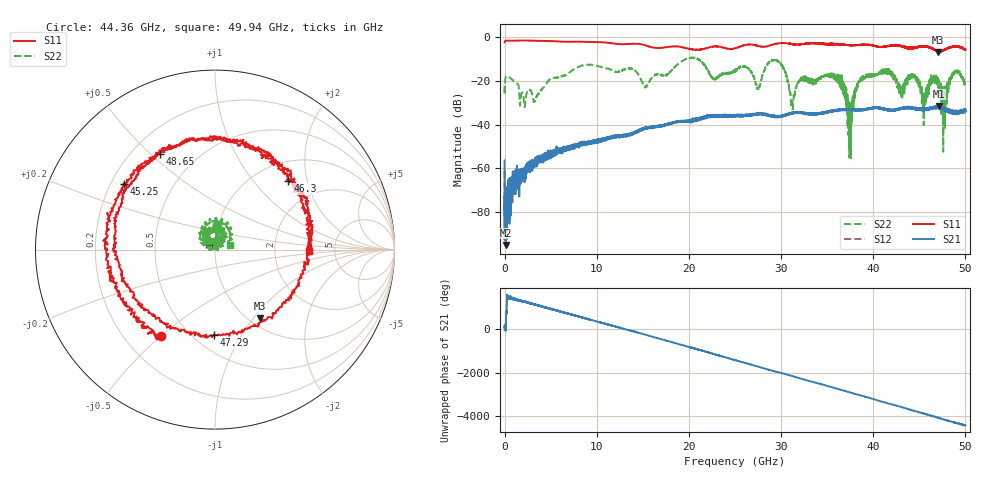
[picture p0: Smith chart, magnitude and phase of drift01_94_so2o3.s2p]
!Created with skrf (http://scikit-rf.org).
# Hz S RI R 50.0
!freq ReS11 ImS11 ReS21 ImS21 ReS12 ImS12 ReS22 ImS22
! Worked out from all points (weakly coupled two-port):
!   10001 points, 300 kHz to 50 GHz, reference 50 ohm
!   highest |S21| = -31.41 dB at 47.18 GHz (marker M1); lowest = -95.3 dB at 155.3 MHz (marker M2)
!   lowest |S11| = -6.8 dB at 47.07 GHz (marker M3), VSWR 2.70, Z = 55.9 - j54.3 ohm
!   |S11| at or under -10 dB: nowhere
!   |S22| runs from -55.4 to -9.2 dB; largest |S21 - S12| = 0.0044
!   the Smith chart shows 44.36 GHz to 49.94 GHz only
!   S11 on the Smith chart (normalised r, x): 44.36 GHz: 0.35, -0.50; 45.25 GHz: 0.25, +0.30; 46.3 GHz: 1.38, +1.53; 47.29 GHz: 0.63, -0.77; 48.65 GHz: 0.31, +0.54; 49.94 GHz: 3.22, -0.07
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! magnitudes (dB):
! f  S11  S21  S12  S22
! 300 kHz  -2.1  -56.4  -61.3  -22.1
! 155.3 MHz  -1.5  -95.3  -77.1  -17.8
! 3.29 GHz  -1.5  -56.4  -57.0  -28.8
! 8.335 GHz  -1.9  -48.4  -49.4  -12.9
! 16.67 GHz  -4.8  -40.7  -40.9  -16.7
! 25 GHz  -5.0  -35.8  -35.8  -15.5
! 29.59 GHz  -2.8  -36.5  -36.3  -10.7
! 31.24 GHz  -3.0  -34.5  -34.5  -31.6
! 33.34 GHz  -2.6  -35.3  -35.1  -20.1
! 36.2 GHz  -3.0  -33.4  -33.5  -20.8
! 37.47 GHz  -3.6  -33.1  -33.2  -30.2
! 38.66 GHz  -3.3  -33.2  -33.0  -20.3
! 41.67 GHz  -3.9  -33.0  -33.4  -16.0
! 44.36 GHz  -4.9  -32.3  -32.4  -17.2
! 45.25 GHz  -4.1  -33.0  -33.1  -22.7
! 46.3 GHz  -5.1  -32.4  -32.5  -17.9
! 47.07 GHz  -6.8  -32.1  -32.0  -23.2
! 47.18 GHz  -6.3  -31.4  -32.0  -21.1
! 47.29 GHz  -6.5  -32.1  -32.2  -22.6
! 48.65 GHz  -4.2  -34.8  -34.3  -17.2
! 49.94 GHz  -5.6  -33.8  -33.5  -21.3
! 50 GHz  -5.4  -34.0  -33.3  -21.6
